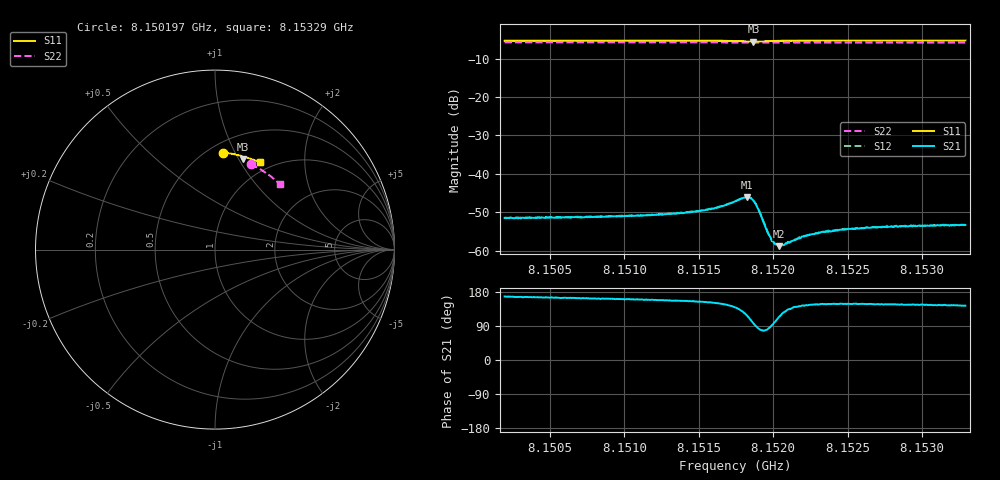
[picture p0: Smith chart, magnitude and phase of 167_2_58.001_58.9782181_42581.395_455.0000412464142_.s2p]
#  HZ  S  RI  R  50.00
! Rohde & Schwarz Vector Network Analyzer
! Rohde-Schwarz,ZNB20-2Port,1311601062101988,3.16
! Created: UTC 3/21/2024, 12:57:46 AM
! freq[Hz]  re:S11  im:S11  re:S21  im:S21  re:S12  im:S12  re:S22  im:S22
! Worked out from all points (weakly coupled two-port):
!   401 points, 8.150197 GHz to 8.15329 GHz, reference 50 ohm
!   highest |S21| = -46.07 dB at 8.151821 GHz (marker M1); lowest = -58.8 dB at 8.152037 GHz (marker M2)
!   lowest |S11| = -5.6 dB at 8.151867 GHz (marker M3), VSWR 3.21, Z = 37.4 + j51.9 ohm
!   |S11| at or under -10 dB: nowhere
!   |S22| runs from -5.8 to -5.8 dB; largest |S21 - S12| = 0.00012
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8.150197e9  0.0453 0.5388  -0.00261 0.000574  -0.00261 0.000634  0.1989 0.4758
8.150715e9  0.0816 0.5356  -0.00259 0.0008  -0.00261 0.000855  0.2293 0.4613
8.151233e9  0.1181 0.5293  -0.00273 0.00109  -0.00279 0.00115  0.2583 0.4447
8.1513799e9  0.1287 0.5268  -0.00282 0.00126  -0.00285 0.00133  0.2663 0.4397
8.1515113e9  0.1386 0.5242  -0.00298 0.00146  -0.00297 0.00151  0.2735 0.435
8.1516351e9  0.1485 0.5206  -0.00317 0.00187  -0.00319 0.00198  0.2801 0.4305
8.1517433e9  0.1573 0.5142  -0.00333 0.00288  -0.0033 0.00295  0.2859 0.4265
8.1518206e9  0.1595 0.5051  -0.00239 0.00436  -0.00231 0.00445  0.2897 0.4234
8.1518438e9  0.1572 0.5025  -0.00152 0.00463  -0.0015 0.0047  0.2907 0.4223
8.151867e9  0.1538 0.502  -0.000532 0.00446  -0.000451 0.00451  0.2917 0.4217
8.1518979e9  0.1507 0.505  0.000373 0.00351  0.000432 0.00357  0.2933 0.4208
8.1519752e9  0.1551 0.5133  0.000125 0.00156  0.000158 0.00155  0.2973 0.4181
8.1520062e9  0.1583 0.5145  -0.000193 0.00125  -0.000189 0.00125  0.299 0.4171
8.1520216e9  0.16 0.5148  -0.000324 0.00117  -0.000297 0.00115  0.2997 0.4165
8.1520371e9  0.1616 0.515  -0.000456 0.00105  -0.000426 0.00107  0.3007 0.4159
8.1520758e9  0.1654 0.5151  -0.000726 0.000956  -0.000705 0.000982  0.3025 0.4144
8.152184e9  0.1746 0.5137  -0.00115 0.0009  -0.0012 0.000936  0.3083 0.41
8.1522613e9  0.1806 0.5123  -0.00136 0.000929  -0.00136 0.000949  0.3121 0.4072
8.1523386e9  0.1863 0.5106  -0.0015 0.000955  -0.00148 0.000941  0.3161 0.4039
8.1524623e9  0.1951 0.5078  -0.0016 0.000978  -0.00161 0.00105  0.3221 0.3988
8.1527793e9  0.2165 0.4997  -0.00172 0.00112  -0.00171 0.00114  0.3374 0.3856
8.1532896e9  0.2492 0.4853  -0.00174 0.00129  -0.00175 0.00133  0.3606 0.3629
